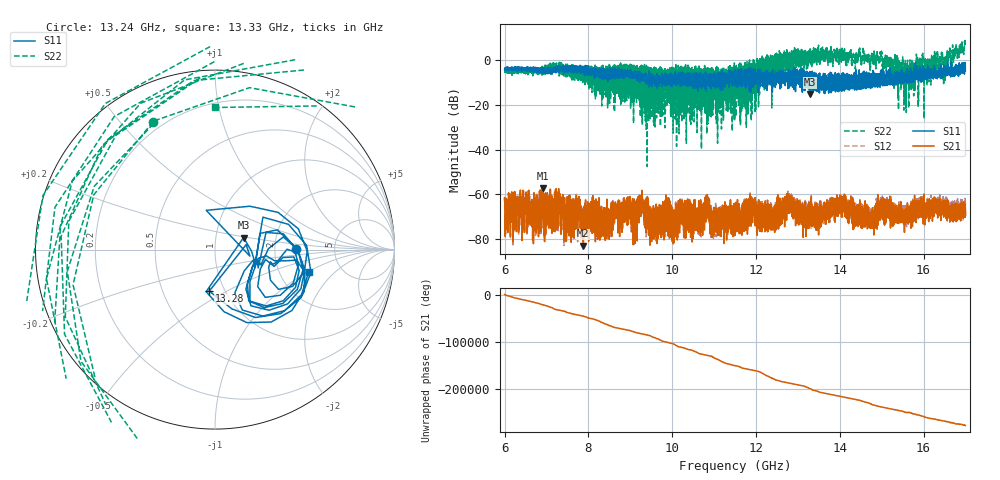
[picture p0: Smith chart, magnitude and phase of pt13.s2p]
#  HZ  S  RI  R  50.00
! Rohde & Schwarz Vector Network Analyzer
! Rohde-Schwarz,ZNA67-2Port,1332450062101215,3.01
! Created: UTC 10/26/2026, 4:44:51 PM
! freq[Hz]  re:S11  im:S11  re:S21  im:S21  re:S12  im:S12  re:S22  im:S22
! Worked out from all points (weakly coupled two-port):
!   11001 points, 6 GHz to 17 GHz, reference 50 ohm
!   highest |S21| = -57.21 dB at 6.906 GHz (marker M1); lowest = -82.9 dB at 7.879 GHz (marker M2)
!   lowest |S11| = -15.2 dB at 13.29 GHz (marker M3), VSWR 1.42, Z = 68.2 + j9.44 ohm
!   |S11| at or under -10 dB: 13.56971 GHz to 13.57634 GHz (6.63 MHz wide, 0.0488 % of centre); 13.70755 GHz to 13.71558 GHz (8.023 MHz wide, 0.0585 % of centre); 13.8499 GHz to 13.85777 GHz (7.867 MHz wide, 0.0568 % of centre) (the widest 3 of 430)
!   |S22| runs from -47.6 to 8.7 dB; largest |S21 - S12| = 0.0012
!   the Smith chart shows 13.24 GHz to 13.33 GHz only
!   S11 on the Smith chart (normalised r, x): 13.24 GHz: 2.66, +0.01; 13.28 GHz: 0.85, -0.41; 13.33 GHz: 2.91, -1.03
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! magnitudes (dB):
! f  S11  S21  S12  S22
! 6 GHz  -4.2  -62.7  -62.7  -5.5
! 6.906 GHz  -5.1  -57.2  -57.1  -6.1
! 7.834 GHz  -3.4  -69.2  -68.5  -3.6
! 7.879 GHz  -4.2  -82.9  -79.0  -4.5
! 8.952 GHz  -5.4  -73.4  -73.0  -6.1
! 9.117 GHz  -5.6  -64.4  -64.2  -4.4
! 9.251 GHz  -6.9  -61.3  -61.8  -10.1
! 9.667 GHz  -7.0  -67.4  -66.8  -5.1
! 10.66 GHz  -6.9  -68.6  -69.7  -3.5
! 10.84 GHz  -10.4  -61.0  -61.6  -13.5
! 10.95 GHz  -9.8  -74.8  -72.6  -7.8
! 11.5 GHz  -4.5  -73.9  -75.0  -5.2
! 11.9 GHz  -5.0  -64.6  -63.6  -15.9
! 12.38 GHz  -8.1  -67.7  -67.5  -0.7
! 12.74 GHz  -9.7  -64.3  -64.8  0.0
! 13.24 GHz  -6.9  -70.9  -68.1  -2.0
! 13.28 GHz  -12.6  -64.8  -66.2  4.2
! 13.29 GHz  -15.2  -72.1  -69.2  4.2
! 13.33 GHz  -5.4  -68.6  -66.7  -2.0
! 15.17 GHz  -8.0  -65.7  -66.1  -2.7
! 15.75 GHz  -7.2  -70.9  -66.2  -1.5
! 17 GHz  -4.7  -69.4  -66.4  7.7
